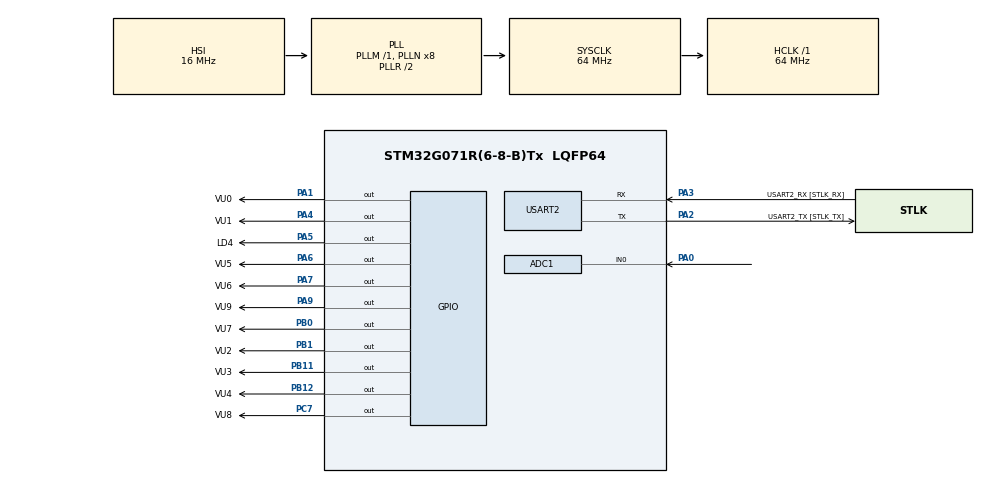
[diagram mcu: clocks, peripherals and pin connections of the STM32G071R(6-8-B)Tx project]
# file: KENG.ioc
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ADC1.Channel-3\#ChannelRegularConversion=ADC_CHANNEL_0
ADC1.ClockPrescaler=ADC_CLOCK_ASYNC_DIV32
ADC1.ContinuousConvMode=ENABLE
ADC1.DMAContinuousRequests=ENABLE
ADC1.NbrOfConversionFlag=1
ADC1.Rank-3\#ChannelRegularConversion=1
ADC1.SamplingTime-3\#ChannelRegularConversion=ADC_SAMPLINGTIME_COMMON_1
ADC1.SelectedChannel=ADC_CHANNEL_0
ADC1.master=1
Dma.ADC1.0.Direction=DMA_PERIPH_TO_MEMORY
Dma.ADC1.0.EventEnable=DISABLE
Dma.ADC1.0.Instance=DMA1_Channel1
Dma.ADC1.0.MemDataAlignment=DMA_MDATAALIGN_HALFWORD
Dma.ADC1.0.MemInc=DMA_MINC_ENABLE
Dma.ADC1.0.Mode=DMA_CIRCULAR
Dma.ADC1.0.PeriphDataAlignment=DMA_PDATAALIGN_HALFWORD
Dma.ADC1.0.PeriphInc=DMA_PINC_DISABLE
Dma.ADC1.0.Polarity=HAL_DMAMUX_REQ_GEN_RISING
Dma.ADC1.0.Priority=DMA_PRIORITY_LOW
Dma.ADC1.0.RequestNumber=1
Dma.ADC1.0.SignalID=NONE
Dma.ADC1.0.SyncEnable=DISABLE
Dma.ADC1.0.SyncPolarity=HAL_DMAMUX_SYNC_NO_EVENT
Dma.ADC1.0.SyncRequestNumber=1
Dma.ADC1.0.SyncSignalID=NONE
Dma.Request0=ADC1
Mcu.Family=STM32G0
Mcu.Name=STM32G071R(6-8-B)Tx
Mcu.Package=LQFP64
NVIC.ADC1_COMP_IRQn=true\:0\:0\:false\:false\:true\:true\:true\:true
NVIC.DMA1_Channel1_IRQn=true\:0\:0\:false\:false\:true\:false\:true\:true
PA0.Mode=IN0
PA0.Signal=ADC1_IN0
PA1.GPIO_Label=VU0
PA1.Signal=GPIO_Output
PA13.GPIO_Label=TMS
PA13.Mode=Serial_Wire
PA13.Signal=SYS_SWDIO
PA14-BOOT0.GPIO_Label=TCK
PA14-BOOT0.Mode=Serial_Wire
PA14-BOOT0.Signal=SYS_SWCLK
PA2.GPIO_Label=USART2_TX [STLK_TX]
PA2.GPIO_PuPd=GPIO_PULLUP
PA2.Mode=Asynchronous
PA2.Signal=USART2_TX
PA3.GPIO_Label=USART2_RX [STLK_RX]
PA3.GPIO_PuPd=GPIO_PULLUP
PA3.Mode=Asynchronous
PA3.Signal=USART2_RX
PA4.GPIO_Label=VU1
PA4.Signal=GPIO_Output
PA5.GPIO_Label=LD4
PA5.GPIO_Speed=GPIO_SPEED_FREQ_HIGH
PA5.Signal=GPIO_Output
PA6.GPIO_Label=VU5
PA6.Signal=GPIO_Output
PA7.GPIO_Label=VU6
PA7.Signal=GPIO_Output
PA9.GPIO_Label=VU9
PA9.Signal=GPIO_Output
PB0.GPIO_Label=VU7
PB0.Signal=GPIO_Output
PB1.GPIO_Label=VU2
PB1.Signal=GPIO_Output
PB11.GPIO_Label=VU3
PB11.Signal=GPIO_Output
PB12.GPIO_Label=VU4
PB12.Signal=GPIO_Output
PC13.Mode=SYS_WakeUp1
PC13.Signal=SYS_WKUP2
PC14-OSC32_IN\ (PC14).Mode=LSE-External-Oscillator
PC14-OSC32_IN\ (PC14).Signal=RCC_OSC32_IN
PC15-OSC32_OUT\ (PC15).Mode=LSE-External-Oscillator
PC15-OSC32_OUT\ (PC15).Signal=RCC_OSC32_OUT
PC7.GPIO_Label=VU8
PC7.Signal=GPIO_Output
PF0-OSC_IN\ (PF0).GPIO_Label=MCO
PF0-OSC_IN\ (PF0).Mode=HSE-External-Clock-Source
PF0-OSC_IN\ (PF0).Signal=RCC_OSC_IN
ProjectManager.HeapSize=0x200
ProjectManager.StackSize=0x400
ProjectManager.TargetToolchain=STM32CubeIDE
RCC.ADCFreq_Value=64000000
RCC.AHBFreq_Value=64000000
RCC.CortexFreq_Value=64000000
RCC.EXTERNAL_CLOCK_VALUE=12288000
RCC.HCLKFreq_Value=64000000
RCC.HSE_VALUE=8000000
RCC.HSI_VALUE=16000000
RCC.SYSCLKFreq_VALUE=64000000
RCC.SYSCLKSource=RCC_SYSCLKSOURCE_PLLCLK
RCC.VCOOutputFreq_Value=128000000
USART2.VirtualMode-Asynchronous=VM_ASYNC
board=NUCLEO-G071RB

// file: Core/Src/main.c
/* USER CODE BEGIN Header */
/**
  ******************************************************************************
  * @file           : main.c
  * @brief          : Main program body
  ******************************************************************************
  * @attention
  *
  * Copyright (c) 2024 STMicroelectronics.
  * All rights reserved.
  *
  * This software is licensed under terms that can be found in the LICENSE file
  * in the root directory of this software component.
  * If no LICENSE file comes with this software, it is provided AS-IS.
  *
  ******************************************************************************
  */
/* USER CODE END Header */
#include "main.h"

ADC_HandleTypeDef hadc1;
DMA_HandleTypeDef hdma_adc1;

UART_HandleTypeDef huart2;

void SystemClock_Config(void);
static void MX_GPIO_Init(void);
static void MX_DMA_Init(void);
static void MX_USART2_UART_Init(void);
static void MX_ADC1_Init(void);

/* USER CODE BEGIN 0 */
void LED(int led, int state) {
	switch (led) {
		case 0:
			HAL_GPIO_WritePin(VU0_GPIO_Port, VU0_Pin, state);
			break;
		case 1:
			HAL_GPIO_WritePin(VU1_GPIO_Port, VU1_Pin, state);
			break;
		case 2:
			HAL_GPIO_WritePin(VU2_GPIO_Port, VU2_Pin, state);
			break;
		case 3:
			HAL_GPIO_WritePin(VU3_GPIO_Port, VU3_Pin, state);
			break;
		case 4:
			HAL_GPIO_WritePin(VU4_GPIO_Port, VU4_Pin, state);
			break;
		case 5:
			HAL_GPIO_WritePin(VU5_GPIO_Port, VU5_Pin, state);
			break;
		case 6:
			HAL_GPIO_WritePin(VU6_GPIO_Port, VU6_Pin, state);
			break;
		case 7:
			HAL_GPIO_WritePin(VU7_GPIO_Port, VU7_Pin, state);
			break;
		case 8:
			HAL_GPIO_WritePin(VU8_GPIO_Port, VU8_Pin, state);
			break;
		case 9:
			HAL_GPIO_WritePin(VU9_GPIO_Port, VU9_Pin, state);
			break;
	}
}
/* USER CODE END 0 */

int main(void)
{

  /* MCU Configuration--------------------------------------------------------*/

  /* Reset of all peripherals, Initializes the Flash interface and the Systick. */
  HAL_Init();

  /* Configure the system clock */
  SystemClock_Config();

  /* Initialize all configured peripherals */
  MX_GPIO_Init();
  MX_DMA_Init();
  MX_USART2_UART_Init();
  MX_ADC1_Init();
  /* USER CODE BEGIN 2 */
  HAL_ADCEx_Calibration_Start(&hadc1);
  volatile unsigned int ADC_value = 0;
  const int MAX_ADC_VALUE = 4096;
  const float MAX_ALLOW_ADC_VOLTAGE = 3.0;
  const float MAX_ALLOW_ADC_VALUE = (MAX_ADC_VALUE / 3.3) * MAX_ALLOW_ADC_VOLTAGE;
  const int VU_COUNT = 10;
  const int STEP_SIZE = MAX_ALLOW_ADC_VALUE / VU_COUNT;

  HAL_ADC_Start_DMA(&hadc1, &ADC_value, 1);

  HAL_UART_Transmit(&huart2, "Start\r\n", 7, 1000);
  /* USER CODE END 2 */

  /* Infinite loop */
  while (1)
  {
	  (ADC_value >= STEP_SIZE * 1) ? LED(0, 1) : LED(0, 0);
	  (ADC_value >= STEP_SIZE * 2) ? LED(1, 1) : LED(1, 0);
	  (ADC_value >= STEP_SIZE * 3) ? LED(2, 1) : LED(2, 0);
	  (ADC_value >= STEP_SIZE * 4) ? LED(3, 1) : LED(3, 0);
	  (ADC_value >= STEP_SIZE * 5) ? LED(4, 1) : LED(4, 0);
	  (ADC_value >= STEP_SIZE * 6) ? LED(5, 1) : LED(5, 0);
	  (ADC_value >= STEP_SIZE * 7) ? LED(6, 1) : LED(6, 0);
	  (ADC_value >= STEP_SIZE * 8) ? LED(7, 1) : LED(7, 0);
	  (ADC_value >= STEP_SIZE * 9) ? LED(8, 1) : LED(8, 0);
	  (ADC_value >= STEP_SIZE * 10) ? LED(9, 1) : LED(9, 0);
  }
}

void SystemClock_Config(void)
{
  RCC_OscInitTypeDef RCC_OscInitStruct = {0};
  RCC_ClkInitTypeDef RCC_ClkInitStruct = {0};

  /** Configure the main internal regulator output voltage
  */
  HAL_PWREx_ControlVoltageScaling(PWR_REGULATOR_VOLTAGE_SCALE1);

  /** Initializes the RCC Oscillators according to the specified parameters
  * in the RCC_OscInitTypeDef structure.
  */
  RCC_OscInitStruct.OscillatorType = RCC_OSCILLATORTYPE_HSI;
  RCC_OscInitStruct.HSIState = RCC_HSI_ON;
  RCC_OscInitStruct.HSIDiv = RCC_HSI_DIV1;
  RCC_OscInitStruct.HSICalibrationValue = RCC_HSICALIBRATION_DEFAULT;
  RCC_OscInitStruct.PLL.PLLState = RCC_PLL_ON;
  RCC_OscInitStruct.PLL.PLLSource = RCC_PLLSOURCE_HSI;
  RCC_OscInitStruct.PLL.PLLM = RCC_PLLM_DIV1;
  RCC_OscInitStruct.PLL.PLLN = 8;
  RCC_OscInitStruct.PLL.PLLP = RCC_PLLP_DIV2;
  RCC_OscInitStruct.PLL.PLLQ = RCC_PLLQ_DIV2;
  RCC_OscInitStruct.PLL.PLLR = RCC_PLLR_DIV2;
  if (HAL_RCC_OscConfig(&RCC_OscInitStruct) != HAL_OK)
  {
    Error_Handler();
  }

  /** Initializes the CPU, AHB and APB buses clocks
  */
  RCC_ClkInitStruct.ClockType = RCC_CLOCKTYPE_HCLK|RCC_CLOCKTYPE_SYSCLK
                              |RCC_CLOCKTYPE_PCLK1;
  RCC_ClkInitStruct.SYSCLKSource = RCC_SYSCLKSOURCE_PLLCLK;
  RCC_ClkInitStruct.AHBCLKDivider = RCC_SYSCLK_DIV1;
  RCC_ClkInitStruct.APB1CLKDivider = RCC_HCLK_DIV1;

  if (HAL_RCC_ClockConfig(&RCC_ClkInitStruct, FLASH_LATENCY_2) != HAL_OK)
  {
    Error_Handler();
  }
}

static void MX_ADC1_Init(void)
{

  ADC_ChannelConfTypeDef sConfig = {0};

  /** Configure the global features of the ADC (Clock, Resolution, Data Alignment and number of conversion)
  */
  hadc1.Instance = ADC1;
  hadc1.Init.ClockPrescaler = ADC_CLOCK_ASYNC_DIV32;
  hadc1.Init.Resolution = ADC_RESOLUTION_12B;
  hadc1.Init.DataAlign = ADC_DATAALIGN_RIGHT;
  hadc1.Init.ScanConvMode = ADC_SCAN_DISABLE;
  hadc1.Init.EOCSelection = ADC_EOC_SINGLE_CONV;
  hadc1.Init.LowPowerAutoWait = DISABLE;
  hadc1.Init.LowPowerAutoPowerOff = DISABLE;
  hadc1.Init.ContinuousConvMode = ENABLE;
  hadc1.Init.NbrOfConversion = 1;
  hadc1.Init.ExternalTrigConv = ADC_SOFTWARE_START;
  hadc1.Init.ExternalTrigConvEdge = ADC_EXTERNALTRIGCONVEDGE_NONE;
  hadc1.Init.DMAContinuousRequests = ENABLE;
  hadc1.Init.Overrun = ADC_OVR_DATA_PRESERVED;
  hadc1.Init.SamplingTimeCommon1 = ADC_SAMPLETIME_1CYCLE_5;
  hadc1.Init.SamplingTimeCommon2 = ADC_SAMPLETIME_1CYCLE_5;
  hadc1.Init.OversamplingMode = DISABLE;
  hadc1.Init.TriggerFrequencyMode = ADC_TRIGGER_FREQ_HIGH;
  if (HAL_ADC_Init(&hadc1) != HAL_OK)
  {
    Error_Handler();
  }

  /** Configure Regular Channel
  */
  sConfig.Channel = ADC_CHANNEL_0;
  sConfig.Rank = ADC_REGULAR_RANK_1;
  sConfig.SamplingTime = ADC_SAMPLINGTIME_COMMON_1;
  if (HAL_ADC_ConfigChannel(&hadc1, &sConfig) != HAL_OK)
  {
    Error_Handler();
  }

}

static void MX_USART2_UART_Init(void)
{

  huart2.Instance = USART2;
  huart2.Init.BaudRate = 115200;
  huart2.Init.WordLength = UART_WORDLENGTH_8B;
  huart2.Init.StopBits = UART_STOPBITS_1;
  huart2.Init.Parity = UART_PARITY_NONE;
  huart2.Init.Mode = UART_MODE_TX_RX;
  huart2.Init.HwFlowCtl = UART_HWCONTROL_NONE;
  huart2.Init.OverSampling = UART_OVERSAMPLING_16;
  huart2.Init.OneBitSampling = UART_ONE_BIT_SAMPLE_DISABLE;
  huart2.Init.ClockPrescaler = UART_PRESCALER_DIV1;
  huart2.AdvancedInit.AdvFeatureInit = UART_ADVFEATURE_NO_INIT;
  if (HAL_UART_Init(&huart2) != HAL_OK)
  {
    Error_Handler();
  }
  if (HAL_UARTEx_SetTxFifoThreshold(&huart2, UART_TXFIFO_THRESHOLD_1_8) != HAL_OK)
  {
    Error_Handler();
  }
  if (HAL_UARTEx_SetRxFifoThreshold(&huart2, UART_RXFIFO_THRESHOLD_1_8) != HAL_OK)
  {
    Error_Handler();
  }
  if (HAL_UARTEx_DisableFifoMode(&huart2) != HAL_OK)
  {
    Error_Handler();
  }

}

static void MX_DMA_Init(void)
{

  /* DMA controller clock enable */
  __HAL_RCC_DMA1_CLK_ENABLE();

  /* DMA interrupt init */
  /* DMA1_Channel1_IRQn interrupt configuration */
  HAL_NVIC_SetPriority(DMA1_Channel1_IRQn, 0, 0);
  HAL_NVIC_EnableIRQ(DMA1_Channel1_IRQn);

}

static void MX_GPIO_Init(void)
{
  GPIO_InitTypeDef GPIO_InitStruct = {0};

  /* GPIO Ports Clock Enable */
  __HAL_RCC_GPIOC_CLK_ENABLE();
  __HAL_RCC_GPIOF_CLK_ENABLE();
  __HAL_RCC_GPIOA_CLK_ENABLE();
  __HAL_RCC_GPIOB_CLK_ENABLE();

  /*Configure GPIO pin Output Level */
  HAL_GPIO_WritePin(GPIOA, VU0_Pin|VU1_Pin|LD4_Pin|VU5_Pin
                          |VU6_Pin|VU9_Pin, GPIO_PIN_RESET);

  /*Configure GPIO pin Output Level */
  HAL_GPIO_WritePin(GPIOB, VU7_Pin|VU2_Pin|VU3_Pin|VU4_Pin, GPIO_PIN_RESET);

  /*Configure GPIO pin Output Level */
  HAL_GPIO_WritePin(VU8_GPIO_Port, VU8_Pin, GPIO_PIN_RESET);

  /*Configure GPIO pins : VU0_Pin VU1_Pin VU5_Pin VU6_Pin
                           VU9_Pin */
  GPIO_InitStruct.Pin = VU0_Pin|VU1_Pin|VU5_Pin|VU6_Pin
                          |VU9_Pin;
  GPIO_InitStruct.Mode = GPIO_MODE_OUTPUT_PP;
  GPIO_InitStruct.Pull = GPIO_NOPULL;
  GPIO_InitStruct.Speed = GPIO_SPEED_FREQ_LOW;
  HAL_GPIO_Init(GPIOA, &GPIO_InitStruct);

  /*Configure GPIO pin : LD4_Pin */
  GPIO_InitStruct.Pin = LD4_Pin;
  GPIO_InitStruct.Mode = GPIO_MODE_OUTPUT_PP;
  GPIO_InitStruct.Pull = GPIO_NOPULL;
  GPIO_InitStruct.Speed = GPIO_SPEED_FREQ_HIGH;
  HAL_GPIO_Init(LD4_GPIO_Port, &GPIO_InitStruct);

  /*Configure GPIO pins : VU7_Pin VU2_Pin VU3_Pin VU4_Pin */
  GPIO_InitStruct.Pin = VU7_Pin|VU2_Pin|VU3_Pin|VU4_Pin;
  GPIO_InitStruct.Mode = GPIO_MODE_OUTPUT_PP;
  GPIO_InitStruct.Pull = GPIO_NOPULL;
  GPIO_InitStruct.Speed = GPIO_SPEED_FREQ_LOW;
  HAL_GPIO_Init(GPIOB, &GPIO_InitStruct);

  /*Configure GPIO pin : VU8_Pin */
  GPIO_InitStruct.Pin = VU8_Pin;
  GPIO_InitStruct.Mode = GPIO_MODE_OUTPUT_PP;
  GPIO_InitStruct.Pull = GPIO_NOPULL;
  GPIO_InitStruct.Speed = GPIO_SPEED_FREQ_LOW;
  HAL_GPIO_Init(VU8_GPIO_Port, &GPIO_InitStruct);

}

void Error_Handler(void)
{
  __disable_irq();
  while (1)
  {
  }
}
